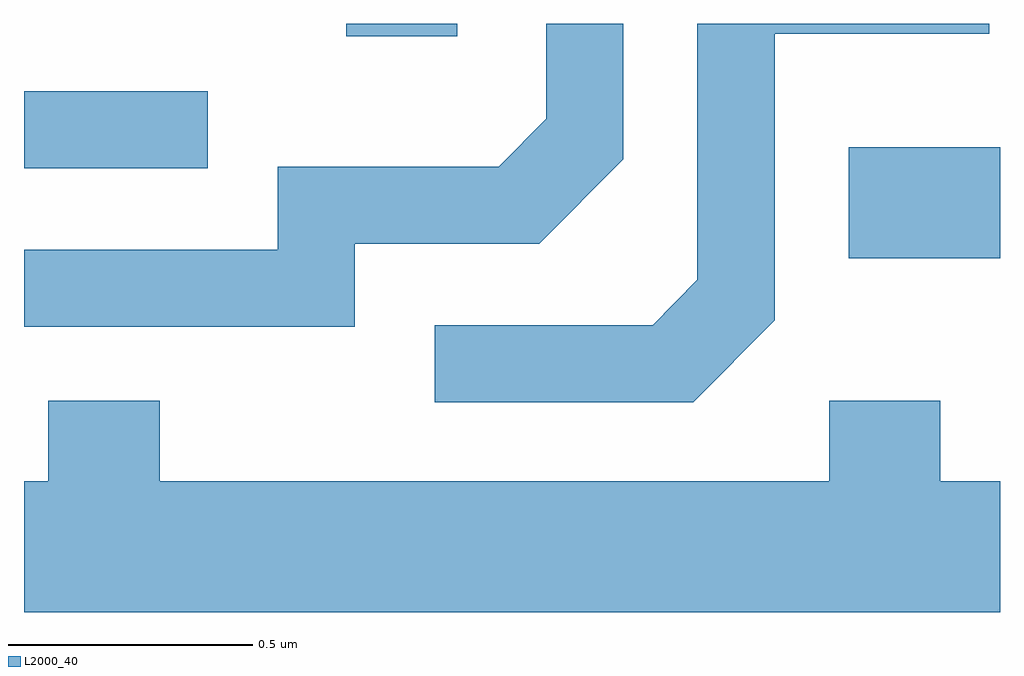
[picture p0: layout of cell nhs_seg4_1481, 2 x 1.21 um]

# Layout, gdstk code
import gdstk
lib = gdstk.Library(unit=1e-6, precision=1e-09)
def R(c, l, rs):  # rectangles x0, y0, x1, y1
    for r in rs: c.add(gdstk.rectangle(r[:2], r[2:], *l))
def P(c, l, *ps):  # polygons
    for p in ps: c.add(gdstk.Polygon(p, *l))
L2000_40 = (2000, 40)

nhs_seg4_1481 = lib.new_cell('nhs_seg4_1481')
R(nhs_seg4_1481, L2000_40, [(197.301,1366.501,197.611,1366.729), (195.611,1366.686,195.988,1366.844), (196.271,1366.956,196.499,1366.982)])
P(nhs_seg4_1481, L2000_40, [(197.149,1366.374),(197.149,1366.961),(197.589,1366.961),(197.589,1366.982),(196.991,1366.982),(196.991,1366.457),(196.899,1366.364),(196.453,1366.364),(196.453,1366.206),(196.982,1366.206)],
  [(196.289,1366.531),(196.667,1366.531),(196.839,1366.704),(196.839,1366.982),(196.681,1366.982),(196.681,1366.787),(196.584,1366.689),(196.131,1366.689),(196.131,1366.519),(195.611,1366.519),(195.611,1366.361),(196.289,1366.361)],
  [(197.611,1366.044),(197.489,1366.044),(197.489,1366.209),(197.261,1366.209),(197.261,1366.044),(195.889,1366.044),(195.889,1366.209),(195.661,1366.209),(195.661,1366.044),(195.611,1366.044),(195.611,1365.776),(197.611,1365.776)])

lib.write_gds('nhs_seg4_1481.gds')
